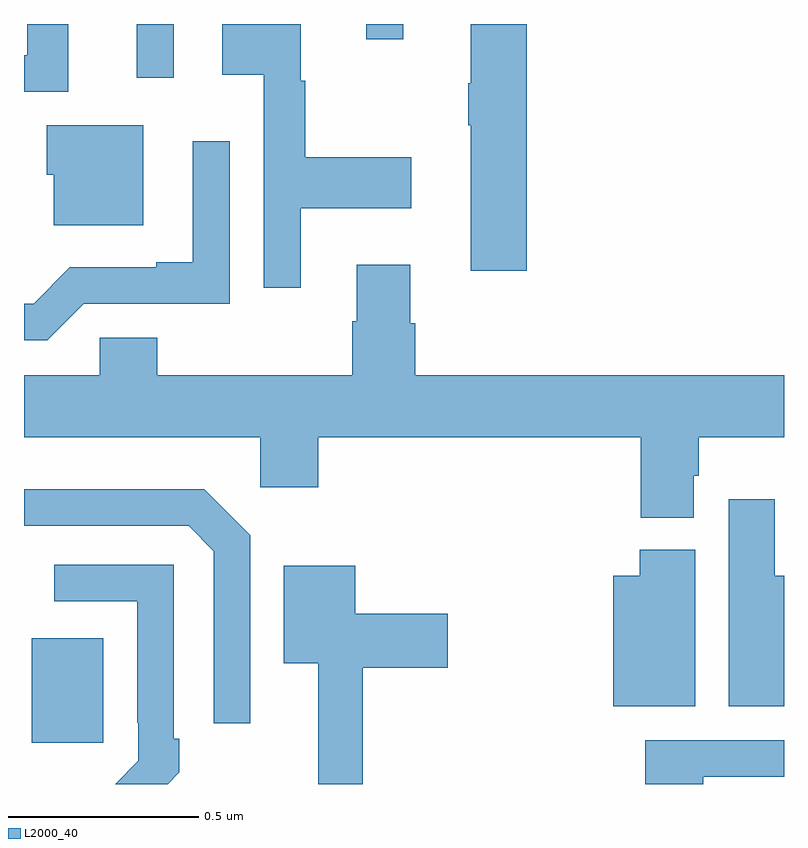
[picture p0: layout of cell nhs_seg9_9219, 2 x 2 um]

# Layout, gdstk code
import gdstk
lib = gdstk.Library(unit=1e-6, precision=1e-09)
def R(c, l, rs):  # rectangles x0, y0, x1, y1
    for r in rs: c.add(gdstk.rectangle(r[:2], r[2:], *l))
def P(c, l, *ps):  # polygons
    for p in ps: c.add(gdstk.Polygon(p, *l))
L2000_40 = (2000, 40)

nhs_seg9_9219 = lib.new_cell('nhs_seg9_9219')
R(nhs_seg9_9219, L2000_40, [(227.021,1203.609,227.209,1203.883), (227.297,1205.358,227.394,1205.5), (227.9,1205.46,227.998,1205.5)])
P(nhs_seg9_9219, L2000_40, [(228.323,1205.5),(228.176,1205.5),(228.176,1205.344),(228.169,1205.344),(228.169,1205.233),(228.176,1205.233),(228.176,1204.851),(228.323,1204.851)],
  [(227.728,1205.015),(228.019,1205.015),(228.019,1205.15),(227.74,1205.15),(227.74,1205.351),(227.728,1205.351),(227.728,1205.5),(227.522,1205.5),(227.522,1205.366),(227.631,1205.366),(227.631,1204.806),(227.728,1204.806)],
  [(227.117,1205.5),(227.008,1205.5),(227.008,1205.418),(227,1205.418),(227,1205.322),(227.117,1205.322)],
  [(227.314,1205.233),(227.06,1205.233),(227.06,1205.103),(227.078,1205.103),(227.078,1204.97),(227.314,1204.97)],
  [(227.157,1204.764),(227.541,1204.764),(227.541,1205.191),(227.444,1205.191),(227.444,1204.873),(227.348,1204.873),(227.348,1204.86),(227.121,1204.86),(227.025,1204.764),(227,1204.764),(227,1204.668),(227.061,1204.668)],
  [(228.763,1204.311),(228.776,1204.311),(228.776,1204.412),(229,1204.412),(229,1204.576),(228.029,1204.576),(228.029,1204.713),(228.016,1204.713),(228.016,1204.867),(227.876,1204.867),(227.876,1204.718),(227.864,1204.718),(227.864,1204.576),(227.351,1204.576),(227.351,1204.674),(227.199,1204.674),(227.199,1204.576),(227,1204.576),(227,1204.412),(227.622,1204.412),(227.622,1204.281),(227.774,1204.281),(227.774,1204.412),(228.623,1204.412),(228.623,1204.201),(228.763,1204.201)],
  [(227.595,1204.155),(227.474,1204.276),(227,1204.276),(227,1204.179),(227.433,1204.179),(227.499,1204.113),(227.499,1203.66),(227.595,1203.66)],
  [(229,1204.048),(228.976,1204.048),(228.976,1204.249),(228.854,1204.249),(228.854,1203.704),(229,1203.704)],
  [(228.766,1204.116),(228.62,1204.116),(228.62,1204.048),(228.551,1204.048),(228.551,1203.704),(228.766,1203.704)],
  [(227.409,1203.531),(227.409,1203.619),(227.394,1203.619),(227.394,1204.077),(227.079,1204.077),(227.079,1203.981),(227.298,1203.981),(227.298,1203.661),(227.301,1203.661),(227.301,1203.561),(227.24,1203.5),(227.378,1203.5)],
  [(227.891,1203.806),(228.115,1203.806),(228.115,1203.948),(227.872,1203.948),(227.872,1204.075),(227.684,1204.075),(227.684,1203.818),(227.774,1203.818),(227.774,1203.5),(227.891,1203.5)],
  [(228.787,1203.519),(229,1203.519),(229,1203.615),(228.635,1203.615),(228.635,1203.5),(228.787,1203.5)])

lib.write_gds('nhs_seg9_9219.gds')
